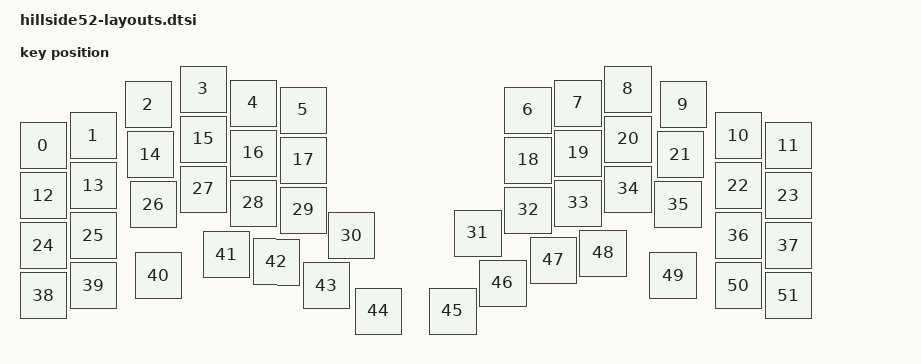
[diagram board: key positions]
#include <physical_layouts.dtsi>

/ {
    physical_layout0: physical_layout_0 {
        compatible = "zmk,physical-layout";
        display-name = "Hillside52";

        kscan = <&kscan0>;
        transform = <&default_transform>;

      
        keys  //                     w   h    x    y     rot    rx    ry
            = <&key_physical_attrs 100 100    0  113       0     0     0>
            , <&key_physical_attrs 100 100  100   93       0     0     0>
            , <&key_physical_attrs 100 100  210   31       0     0     0>
            , <&key_physical_attrs 100 100  320    0       0     0     0>
            , <&key_physical_attrs 100 100  420   28       0     0     0>
            , <&key_physical_attrs 100 100  520   42       0     0     0>
            , <&key_physical_attrs 100 100  970   42       0     0     0>
            , <&key_physical_attrs 100 100 1070   28       0     0     0>
            , <&key_physical_attrs 100 100 1170    0       0     0     0>
            , <&key_physical_attrs 100 100 1280   31       0     0     0>
            , <&key_physical_attrs 100 100 1390   93       0     0     0>
            , <&key_physical_attrs 100 100 1490  113       0     0     0>
            , <&key_physical_attrs 100 100    0  213       0     0     0>
            , <&key_physical_attrs 100 100  100  193       0     0     0>
            , <&key_physical_attrs 100 100  215  131       0     0     0>
            , <&key_physical_attrs 100 100  320  100       0     0     0>
            , <&key_physical_attrs 100 100  420  128       0     0     0>
            , <&key_physical_attrs 100 100  520  142       0     0     0>
            , <&key_physical_attrs 100 100  970  142       0     0     0>
            , <&key_physical_attrs 100 100 1070  128       0     0     0>
            , <&key_physical_attrs 100 100 1170  100       0     0     0>
            , <&key_physical_attrs 100 100 1275  131       0     0     0>
            , <&key_physical_attrs 100 100 1390  193       0     0     0>
            , <&key_physical_attrs 100 100 1490  213       0     0     0>
            , <&key_physical_attrs 100 100    0  313       0     0     0>
            , <&key_physical_attrs 100 100  100  293       0     0     0>
            , <&key_physical_attrs 100 100  220  231       0     0     0>
            , <&key_physical_attrs 100 100  320  200       0     0     0>
            , <&key_physical_attrs 100 100  420  228       0     0     0>
            , <&key_physical_attrs 100 100  520  242       0     0     0>
            , <&key_physical_attrs 100 100  620  288      45     0     0>
            , <&key_physical_attrs 100 100  870  288       0     0     0>
            , <&key_physical_attrs 100 100  970  242       0     0     0>
            , <&key_physical_attrs 100 100 1070  228       0     0     0>
            , <&key_physical_attrs 100 100 1170  200       0     0     0>
            , <&key_physical_attrs 100 100 1270  231       0     0     0>
            , <&key_physical_attrs 100 100 1390  293       0     0     0>
            , <&key_physical_attrs 100 100 1490  313       0     0     0>
            , <&key_physical_attrs 100 100    0  413       0     0     0>
            , <&key_physical_attrs 100 100  100  393       0     0     0>
            , <&key_physical_attrs 100 100  230  373       0     0     0>
            , <&key_physical_attrs 100 100  370  328      40     0     0>
            , <&key_physical_attrs 100 100  470  342      45     0     0>
            , <&key_physical_attrs 100 100  570  388      45     0     0>
            , <&key_physical_attrs 100 100  670  444       0     0     0>
            , <&key_physical_attrs 100 100  820  444       0     0     0>
            , <&key_physical_attrs 100 100  920  388       0     0     0>
            , <&key_physical_attrs 100 100 1020  342       0     0     0>
            , <&key_physical_attrs 100 100 1120  328       0     0     0>
            , <&key_physical_attrs 100 100 1260  373       0     0     0>
            , <&key_physical_attrs 100 100 1390  393       0     0     0>
            , <&key_physical_attrs 100 100 1490  413       0     0     0>
            ;
    };
};
